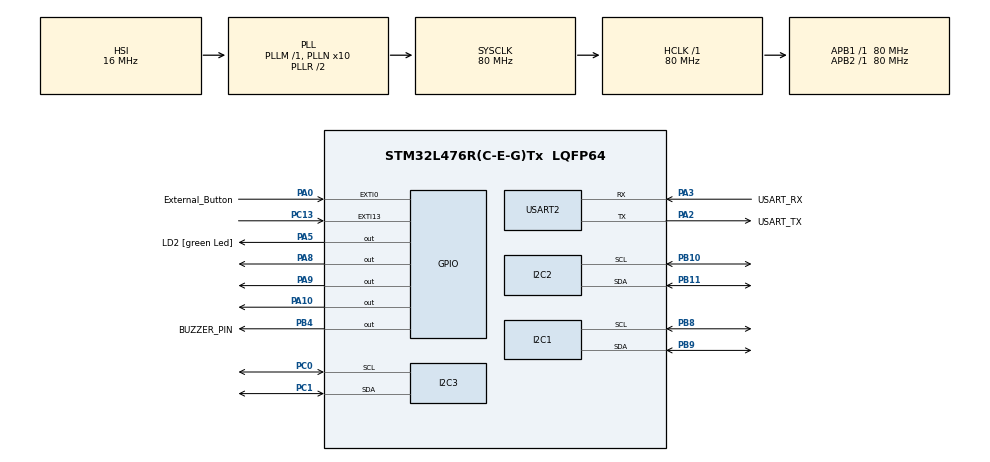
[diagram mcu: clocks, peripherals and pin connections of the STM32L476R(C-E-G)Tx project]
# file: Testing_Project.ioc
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FREERTOS.Tasks01=defaultTask,24,128,StartDefaultTask,Default,NULL,Dynamic,NULL,NULL
FREERTOS.configTOTAL_HEAP_SIZE=8192
I2C1.Timing=0x10D19CE4
I2C2.Timing=0x10D19CE4
I2C3.Timing=0x10D19CE4
Mcu.Family=STM32L4
Mcu.Name=STM32L476R(C-E-G)Tx
Mcu.Package=LQFP64
NVIC.EXTI0_IRQn=true\:5\:0\:true\:false\:true\:true\:true\:true\:true
NVIC.EXTI15_10_IRQn=true\:5\:0\:false\:false\:true\:true\:true\:true\:true
NVIC.PriorityGroup=NVIC_PRIORITYGROUP_4
PA0.GPIO_Label=External_Button
PA0.GPIO_ModeDefaultEXTI=GPIO_MODE_IT_FALLING
PA0.GPIO_PuPd=GPIO_PULLUP
PA0.Signal=GPXTI0
PA10.Signal=GPIO_Output
PA13\ (JTMS-SWDIO).GPIO_Label=TMS
PA13\ (JTMS-SWDIO).Mode=Serial_Wire
PA13\ (JTMS-SWDIO).Signal=SYS_JTMS-SWDIO
PA14\ (JTCK-SWCLK).GPIO_Label=TCK
PA14\ (JTCK-SWCLK).Mode=Serial_Wire
PA14\ (JTCK-SWCLK).Signal=SYS_JTCK-SWCLK
PA2.GPIO_Label=USART_TX
PA2.GPIO_Mode=GPIO_MODE_AF_PP
PA2.GPIO_PuPd=GPIO_NOPULL
PA2.GPIO_Speed=GPIO_SPEED_FREQ_VERY_HIGH
PA2.Mode=Asynchronous
PA2.Signal=USART2_TX
PA3.GPIO_Label=USART_RX
PA3.GPIO_Mode=GPIO_MODE_AF_PP
PA3.GPIO_PuPd=GPIO_NOPULL
PA3.GPIO_Speed=GPIO_SPEED_FREQ_VERY_HIGH
PA3.Mode=Asynchronous
PA3.Signal=USART2_RX
PA5.GPIO_Label=LD2 [green Led]
PA5.GPIO_ModeDefaultOutputPP=GPIO_MODE_OUTPUT_PP
PA5.GPIO_PuPd=GPIO_NOPULL
PA5.GPIO_Speed=GPIO_SPEED_FREQ_LOW
PA5.Signal=GPIO_Output
PA8.Signal=GPIO_Output
PA9.Signal=GPIO_Output
PB10.Mode=I2C
PB10.Signal=I2C2_SCL
PB11.Mode=I2C
PB11.Signal=I2C2_SDA
PB3\ (JTDO-TRACESWO).GPIO_Label=SWO
PB3\ (JTDO-TRACESWO).Signal=SYS_JTDO-SWO
PB4\ (NJTRST).GPIO_Label=BUZZER_PIN
PB4\ (NJTRST).Signal=GPIO_Output
PB8.Mode=I2C
PB8.Signal=I2C1_SCL
PB9.Mode=I2C
PB9.Signal=I2C1_SDA
PC0.Mode=I2C
PC0.Signal=I2C3_SCL
PC1.Mode=I2C
PC1.Signal=I2C3_SDA
PC13.Signal=GPXTI13
PC14-OSC32_IN\ (PC14).Mode=LSE-External-Oscillator
PC14-OSC32_IN\ (PC14).Signal=RCC_OSC32_IN
PC15-OSC32_OUT\ (PC15).Mode=LSE-External-Oscillator
PC15-OSC32_OUT\ (PC15).Signal=RCC_OSC32_OUT
PH0-OSC_IN\ (PH0).Signal=RCC_OSC_IN
PH1-OSC_OUT\ (PH1).Signal=RCC_OSC_OUT
ProjectManager.HeapSize=0x200
ProjectManager.StackSize=0x400
ProjectManager.TargetToolchain=STM32CubeIDE
RCC.ADCFreq_Value=64000000
RCC.AHBFreq_Value=80000000
RCC.APB1Freq_Value=80000000
RCC.APB1TimFreq_Value=80000000
RCC.APB2Freq_Value=80000000
RCC.APB2TimFreq_Value=80000000
RCC.CortexFreq_Value=80000000
RCC.HCLKFreq_Value=80000000
RCC.HSE_VALUE=8000000
RCC.HSI_VALUE=16000000
RCC.MSI_VALUE=4000000
RCC.PLLN=10
RCC.PLLSourceVirtual=RCC_PLLSOURCE_HSI
RCC.PREFETCH_ENABLE=1
RCC.SYSCLKFreq_VALUE=80000000
RCC.SYSCLKSource=RCC_SYSCLKSOURCE_PLLCLK
RCC.USBFreq_Value=64000000
RCC.VCOOutputFreq_Value=160000000
USART2.VirtualMode-Asynchronous=VM_ASYNC
VP_FREERTOS_VS_CMSIS_V2.Mode=CMSIS_V2
board=NUCLEO-L476RG

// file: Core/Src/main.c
/* USER CODE BEGIN Header */
/**
  ******************************************************************************
  * @file           : main.c
  * @brief          : Main program body
  ******************************************************************************
  * @attention
  *
  * Copyright (c) 2025 STMicroelectronics.
  * All rights reserved.
  *
  * This software is licensed under terms that can be found in the LICENSE file
  * in the root directory of this software component.
  * If no LICENSE file comes with this software, it is provided AS-IS.
  *
  ******************************************************************************
  */
/* USER CODE END Header */
#include "main.h"
#include "cmsis_os.h"
#include "i2c.h"
#include "usart.h"
#include "gpio.h"

/* USER CODE BEGIN Includes */
/* USER CODE BEGIN Includes */
#include <stdio.h>
#include <string.h>
#include "i2c.h" // <-- ADD THIS
/* USER CODE END Includes */

/* USER CODE BEGIN PV */
osThreadId_t laserTaskHandle;
const osThreadAttr_t laserTask_attributes = {
  .name = "laserTask",
  .stack_size = 512 * 4, // 2048 bytes
  .priority = (osPriority_t) osPriorityNormal,
};

osThreadId_t buttonTaskHandle;
const osThreadAttr_t buttonTask_attributes = {
  .name = "buttonTask",
  .stack_size = 256 * 4, // 1024 bytes
  .priority = (osPriority_t) osPriorityHigh,
};

osSemaphoreId_t buttonSemHandle;
const osSemaphoreAttr_t buttonSem_attributes = {
  .name = "buttonSem"
};

osMutexId_t printfMutexHandle;
const osMutexAttr_t printfMutex_attributes = {
  .name = "printfMutex"
};

osThreadId_t gameLogicTaskHandle;
const osThreadAttr_t gameLogicTask_attributes = {
  .name = "gameLogicTask",
  .stack_size = 256 * 4, // 1024 bytes
  .priority = (osPriority_t) osPriorityNormal,
};

osMutexId_t gameMutexHandle;
const osMutexAttr_t gameMutex_attributes = {
  .name = "gameMutex"
};

osThreadId_t buzzerTaskHandle;
const osThreadAttr_t buzzerTask_attributes = {
  .name = "buzzerTask",
  .stack_size = 128 * 4, // 512 bytes
  .priority = (osPriority_t) osPriorityLow,
};

osSemaphoreId_t buzzerSemHandle;
const osSemaphoreAttr_t buzzerSem_attributes = {
  .name = "buzzerSem"
};

osThreadId_t dynamicLaserTaskHandle;
const osThreadAttr_t dynamicLaserTask_attributes = {
  .name = "dynamicLaserTask",
  .stack_size = 128 * 4, // 512 bytes
  .priority = (osPriority_t) osPriorityBelowNormal,
};

// Game State Variables
volatile int gameTimer = 60; // 60 seconds
volatile int gameRunning = 0; // 0=Idle, 1=Playing, 2=Lost, 3=Won
volatile int isLaser3Active = 1; // 1=On, 0=Off
volatile int lastButtonPressed = 0; // 1=Blue(Start/Reset), 2=External(Win)
/* USER CODE END PV */

void SystemClock_Config(void);
void MX_FREERTOS_Init(void);
/* USER CODE BEGIN PFP */
void StartLaserTask(void *argument);
void StartButtonTask(void *argument);
void StartGameLogicTask(void *argument);
void StartBuzzerTask(void *argument);
void StartDynamicLaserTask(void *argument);
/* USER CODE END PFP */

/* USER CODE BEGIN 0 */
// Retargets printf to use UART2
int _write(int file, char *ptr, int len)
{
  HAL_UART_Transmit(&huart2, (uint8_t*)ptr, len, HAL_MAX_DELAY);
  return len;
}
/* USER CODE END 0 */

int main(void)
{

  /* MCU Configuration--------------------------------------------------------*/

  /* Reset of all peripherals, Initializes the Flash interface and the Systick. */
  HAL_Init();

  /* Configure the system clock */
  SystemClock_Config();

  /* Initialize all configured peripherals */
  MX_GPIO_Init();
  MX_USART2_UART_Init();
  MX_I2C1_Init();
  MX_I2C2_Init();
  MX_I2C3_Init();
  /* USER CODE BEGIN 2 */
    // --- NOW WE CREATE TASKS AND OBJECTS ---
    buttonSemHandle = osSemaphoreNew(1, 0, &buttonSem_attributes); // Max count 1, initial count 0
    printfMutexHandle = osMutexNew(&printfMutex_attributes);
    gameMutexHandle = osMutexNew(&gameMutex_attributes);
    buzzerSemHandle = osSemaphoreNew(1, 0, &buzzerSem_attributes);

    // Create the tasks
    laserTaskHandle = osThreadNew(StartLaserTask, NULL, &laserTask_attributes);
    buttonTaskHandle = osThreadNew(StartButtonTask, NULL, &buttonTask_attributes);
    gameLogicTaskHandle = osThreadNew(StartGameLogicTask, NULL, &gameLogicTask_attributes);
    dynamicLaserTaskHandle = osThreadNew(StartDynamicLaserTask, NULL, &dynamicLaserTask_attributes); // <-- ADD THIS
      /* Start scheduler */
  /* USER CODE END 2 */

  /* Init scheduler */
  osKernelInitialize();  /* Call init function for freertos objects (in cmsis_os2.c) */
  MX_FREERTOS_Init();

  /* Start scheduler */
  osKernelStart();

  /* We should never get here as control is now taken by the scheduler */

  /* Infinite loop */
  while (1)
  {

  }
}

void SystemClock_Config(void)
{
  RCC_OscInitTypeDef RCC_OscInitStruct = {0};
  RCC_ClkInitTypeDef RCC_ClkInitStruct = {0};

  /** Configure the main internal regulator output voltage
  */
  if (HAL_PWREx_ControlVoltageScaling(PWR_REGULATOR_VOLTAGE_SCALE1) != HAL_OK)
  {
    Error_Handler();
  }

  /** Initializes the RCC Oscillators according to the specified parameters
  * in the RCC_OscInitTypeDef structure.
  */
  RCC_OscInitStruct.OscillatorType = RCC_OSCILLATORTYPE_HSI;
  RCC_OscInitStruct.HSIState = RCC_HSI_ON;
  RCC_OscInitStruct.HSICalibrationValue = RCC_HSICALIBRATION_DEFAULT;
  RCC_OscInitStruct.PLL.PLLState = RCC_PLL_ON;
  RCC_OscInitStruct.PLL.PLLSource = RCC_PLLSOURCE_HSI;
  RCC_OscInitStruct.PLL.PLLM = 1;
  RCC_OscInitStruct.PLL.PLLN = 10;
  RCC_OscInitStruct.PLL.PLLP = RCC_PLLP_DIV7;
  RCC_OscInitStruct.PLL.PLLQ = RCC_PLLQ_DIV2;
  RCC_OscInitStruct.PLL.PLLR = RCC_PLLR_DIV2;
  if (HAL_RCC_OscConfig(&RCC_OscInitStruct) != HAL_OK)
  {
    Error_Handler();
  }

  /** Initializes the CPU, AHB and APB buses clocks
  */
  RCC_ClkInitStruct.ClockType = RCC_CLOCKTYPE_HCLK|RCC_CLOCKTYPE_SYSCLK
                              |RCC_CLOCKTYPE_PCLK1|RCC_CLOCKTYPE_PCLK2;
  RCC_ClkInitStruct.SYSCLKSource = RCC_SYSCLKSOURCE_PLLCLK;
  RCC_ClkInitStruct.AHBCLKDivider = RCC_SYSCLK_DIV1;
  RCC_ClkInitStruct.APB1CLKDivider = RCC_HCLK_DIV1;
  RCC_ClkInitStruct.APB2CLKDivider = RCC_HCLK_DIV1;

  if (HAL_RCC_ClockConfig(&RCC_ClkInitStruct, FLASH_LATENCY_4) != HAL_OK)
  {
    Error_Handler();
  }
}

/* USER CODE BEGIN 4 */

/**
  * @brief  External Line Interrupt Callback. This is the ISR.
  */
void HAL_GPIO_EXTI_Callback(uint16_t GPIO_Pin)
{
  // 1. Check Blue Button (PC13) -> Start / Reset
  if(GPIO_Pin == GPIO_PIN_13)
  {
    lastButtonPressed = 1; // 1 = Blue Button
    osSemaphoreRelease(buttonSemHandle);
  }
  // 2. Check External Button (SystemClock_Config) -> Win
  else if(GPIO_Pin == GPIO_PIN_0)
  {
    lastButtonPressed = 2; // 2 = External Button
    osSemaphoreRelease(buttonSemHandle);
  }
}

/**
  * @brief Function implementing the buttonTask thread.
  */
/**
  * @brief Function implementing the buttonTask thread.
  */
/**
  * @brief Function implementing the buttonTask thread.
  */
/**
  * @brief Function implementing the buttonTask thread.
  */
/**
  * @brief Function implementing the buttonTask thread.
  */
/**
  * @brief Function implementing the buttonTask thread.
  */
/**
  * @brief Function implementing the buttonTask thread.
  */
void StartButtonTask(void *argument)
{
  /* USER CODE BEGIN StartButtonTask */
  for(;;)
  {
    // Wait for ANY button press (Semaphore released by ISR)
    if (osSemaphoreAcquire(buttonSemHandle, osWaitForever) == osOK)
    {
      // Simple mechanical debounce (waits for the spring inside the button to settle)
      // We keep this because all physical buttons bounce a little.
      osDelay(50);

      // --- NOISE FILTER REMOVED ---
      // We assume if the semaphore was released, it was a real press.

      // Lock the game state
      if (osMutexAcquire(gameMutexHandle, osWaitForever) == osOK)
      {
        // ------------------------------------------
        // LOGIC FOR BLUE BUTTON (START / RESET)
        // ------------------------------------------
        if (lastButtonPressed == 1)
        {
          // If Game is Idle (0) -> START IT
          if (gameRunning == 0)
          {
            gameRunning = 1;
            gameTimer = 60;

            // Turn ON Lasers
            HAL_GPIO_WritePin(GPIOA, GPIO_PIN_8, GPIO_PIN_SET);
            HAL_GPIO_WritePin(GPIOA, GPIO_PIN_9, GPIO_PIN_SET);

            // Silence Buzzer
            HAL_GPIO_WritePin(BUZZER_PIN_GPIO_Port, BUZZER_PIN_Pin, GPIO_PIN_RESET);

            if (osMutexAcquire(printfMutexHandle, osWaitForever) == osOK) {
              printf("\r\n--- GAME START! --- \r\n");
              osMutexRelease(printfMutexHandle);
            }
          }
          // If Game is Running -> RESET IT
          else
          {
            gameRunning = 0;
            HAL_GPIO_WritePin(GPIOA, GPIO_PIN_8, GPIO_PIN_RESET);
            HAL_GPIO_WritePin(GPIOA, GPIO_PIN_9, GPIO_PIN_RESET);
            HAL_GPIO_WritePin(BUZZER_PIN_GPIO_Port, BUZZER_PIN_Pin, GPIO_PIN_RESET);

            if (osMutexAcquire(printfMutexHandle, osWaitForever) == osOK) {
              printf("\r\n--- GAME RESET. ---\r\n");
              osMutexRelease(printfMutexHandle);
            }
          }
        }

        // ------------------------------------------
        // LOGIC FOR EXTERNAL BUTTON (WIN)
        // ------------------------------------------
        else if (lastButtonPressed == 2)
        {
          // Only win if game is running
          if (gameRunning == 1)
          {
            gameRunning = 3; // 3 = Win

            // Turn OFF Lasers
            HAL_GPIO_WritePin(GPIOA, GPIO_PIN_8, GPIO_PIN_RESET);
            HAL_GPIO_WritePin(GPIOA, GPIO_PIN_9, GPIO_PIN_RESET);

            // WAKE UP BUZZER
            osSemaphoreRelease(buzzerSemHandle);

            if (osMutexAcquire(printfMutexHandle, osWaitForever) == osOK) {
              printf("\r\n--- YOU WIN! ---\r\n");
              osMutexRelease(printfMutexHandle);
            }
          }
        }

        osMutexRelease(gameMutexHandle);
      }

      // Long delay to prevent double-clicks
      osDelay(300);
    }
  }
  /* USER CODE END StartButtonTask */
}
/**
  * @brief Function implementing the gameLogicTask thread.
  */
void StartGameLogicTask(void *argument)
{
  /* USER CODE BEGIN StartGameLogicTask */
  for(;;)
  {
    osDelay(1000);

    if (osMutexAcquire(gameMutexHandle, osWaitForever) == osOK)
    {
      if (gameRunning == 1)
      {
        gameTimer--;

        if (osMutexAcquire(printfMutexHandle, osWaitForever) == osOK) {
          printf("Time remaining: %d\r\n", gameTimer);
          osMutexRelease(printfMutexHandle);
        }

        // Audible Cues
        if (gameTimer == 50 || gameTimer == 40 || gameTimer == 30 || gameTimer == 20) {
          HAL_GPIO_WritePin(BUZZER_PIN_GPIO_Port, BUZZER_PIN_Pin, GPIO_PIN_SET);
          osDelay(200);
          HAL_GPIO_WritePin(BUZZER_PIN_GPIO_Port, BUZZER_PIN_Pin, GPIO_PIN_RESET);
        }
        else if (gameTimer <= 10 && gameTimer > 0) {
          HAL_GPIO_WritePin(BUZZER_PIN_GPIO_Port, BUZZER_PIN_Pin, GPIO_PIN_SET);
          osDelay(50);
          HAL_GPIO_WritePin(BUZZER_PIN_GPIO_Port, BUZZER_PIN_Pin, GPIO_PIN_RESET);
        }

        if (gameTimer <= 0)
        {
          gameRunning = 2; // Lost
          osSemaphoreRelease(buzzerSemHandle);

          if (osMutexAcquire(printfMutexHandle, osWaitForever) == osOK) {
            printf("\r\n--- TIME'S UP! YOU LOSE! --- \r\n");
            osMutexRelease(printfMutexHandle);
          }
        }
      }
      osMutexRelease(gameMutexHandle);
    }
  }
  /* USER CODE END StartGameLogicTask */
}

// I2C Address for PCF8591
#define PCF_MODULE_ADDRESS (0x48 << 1)
#define PCF_READ_AIN1 (0x04 | 1)

/**
 * @brief Helper function to read AIN1 from a specific I2C bus
 */
int read_ldr_from_bus(I2C_HandleTypeDef *hi2c)
{
    HAL_StatusTypeDef status;
    uint8_t i2c_data_buffer[2];

    i2c_data_buffer[0] = PCF_READ_AIN1;
    status = HAL_I2C_Master_Transmit(hi2c, PCF_MODULE_ADDRESS, i2c_data_buffer, 1, 100);

    if (status != HAL_OK) {
    	HAL_I2C_DeInit(hi2c);
    	HAL_I2C_Init(hi2c);
    	return -1;
    }

    status = HAL_I2C_Master_Receive(hi2c, PCF_MODULE_ADDRESS, i2c_data_buffer, 2, 100);
    if (status != HAL_OK) {
    	HAL_I2C_DeInit(hi2c);
    	HAL_I2C_Init(hi2c);
    	return -1;
    }

    return i2c_data_buffer[1];
}

void StartLaserTask(void *argument)
{
  /* USER CODE BEGIN 5 */
  int ldr1_val, ldr2_val, ldr3_val;
  uint8_t beam_broken = 0;

  for(;;)
  {
    if (gameRunning == 1)
    {
      beam_broken = 0;

      ldr1_val = read_ldr_from_bus(&hi2c1);
      ldr2_val = read_ldr_from_bus(&hi2c2);

      if (isLaser3Active == 1) {
        ldr3_val = read_ldr_from_bus(&hi2c3);
      } else {
    	ldr3_val = 0;
      }

      if ( (ldr1_val == -1 || ldr1_val > 40) ||
           (ldr2_val == -1 || ldr2_val > 40) ||
           (isLaser3Active == 1 && (ldr3_val == -1 || ldr3_val > 40)) )
      {
        beam_broken = 1;
        HAL_GPIO_WritePin(BUZZER_PIN_GPIO_Port, BUZZER_PIN_Pin, GPIO_PIN_SET);
      }
      else {
        beam_broken = 0;
        HAL_GPIO_WritePin(BUZZER_PIN_GPIO_Port, BUZZER_PIN_Pin, GPIO_PIN_RESET);
      }

      if (beam_broken == 1)
      {
          if (osMutexAcquire(gameMutexHandle, osWaitForever) == osOK)
          {
            if (gameRunning == 1) {
              gameTimer -= 10;
              if (gameTimer < 0) gameTimer = 0;
              if (osMutexAcquire(printfMutexHandle, osWaitForever) == osOK) {
                printf("!!! BEAM BROKEN! (LDRs: %d, %d, %d) -10 SECONDS !!!\r\n", ldr1_val, ldr2_val, ldr3_val);
                osMutexRelease(printfMutexHandle);
              }
            }
            osMutexRelease(gameMutexHandle);
          }
          osDelay(1000);
      }
    }
    else {
      HAL_GPIO_WritePin(BUZZER_PIN_GPIO_Port, BUZZER_PIN_Pin, GPIO_PIN_RESET);
    }
    osDelay(200);
  }
  /* USER CODE END 5 */
}

/**
  * @brief Function implementing the buzzerTask thread.
  */
/**
  * @brief Function implementing the buzzerTask thread.
  */
void StartBuzzerTask(void *argument)
{
  /* USER CODE BEGIN StartBuzzerTask */
  /* Infinite loop */
  for(;;)
  {
    // Wait for signal (Win or Lose)
    if (osSemaphoreAcquire(buzzerSemHandle, osWaitForever) == osOK)
    {
      // -------------------------------------------------
      // SCENARIO A: PLAYER LOST (Slow Beeping)
      // -------------------------------------------------
      if (gameRunning == 2)
      {
        for(int i = 0; i < 10; i++)
        {
          if (gameRunning != 2) break; // Stop if reset

          HAL_GPIO_WritePin(BUZZER_PIN_GPIO_Port, BUZZER_PIN_Pin, GPIO_PIN_SET);
          osDelay(150);
          HAL_GPIO_WritePin(BUZZER_PIN_GPIO_Port, BUZZER_PIN_Pin, GPIO_PIN_RESET);
          osDelay(150);
        }
      }

      // -------------------------------------------------
      // SCENARIO B: PLAYER WON (Victory Tune!)
      // -------------------------------------------------
      else if (gameRunning == 3)
      {
        // Pattern: Beep-Beep-Beep-Hooooold
        // We loop this pattern 3 times
        for(int i = 0; i < 3; i++)
        {
           if (gameRunning != 3) break; // Stop if reset

           // 3 Short Fast Beeps
           for(int j=0; j<3; j++) {
             HAL_GPIO_WritePin(BUZZER_PIN_GPIO_Port, BUZZER_PIN_Pin, GPIO_PIN_SET);
             osDelay(80);
             HAL_GPIO_WritePin(BUZZER_PIN_GPIO_Port, BUZZER_PIN_Pin, GPIO_PIN_RESET);
             osDelay(80);
           }

           // 1 Long Happy Beep
           HAL_GPIO_WritePin(BUZZER_PIN_GPIO_Port, BUZZER_PIN_Pin, GPIO_PIN_SET);
           osDelay(400);
           HAL_GPIO_WritePin(BUZZER_PIN_GPIO_Port, BUZZER_PIN_Pin, GPIO_PIN_RESET);

           // Pause before repeating
           osDelay(300);
        }
      }
    }
  }
  /* USER CODE END StartBuzzerTask */
}
/**
  * @brief Function implementing the dynamicLaserTask thread.
  */
void StartDynamicLaserTask(void *argument)
{
  /* USER CODE BEGIN StartDynamicLaserTask */
  for(;;)
  {
    isLaser3Active = 1;
    HAL_GPIO_WritePin(GPIOA, GPIO_PIN_10, GPIO_PIN_SET);
    osDelay(3000);

    isLaser3Active = 0;
    HAL_GPIO_WritePin(GPIOA, GPIO_PIN_10, GPIO_PIN_RESET);
    osDelay(3000);
  }
  /* USER CODE END StartDynamicLaserTask */
}
/* USER CODE END 4 */

void Error_Handler(void)
{
  __disable_irq();
  while (1)
  {
  }
}
